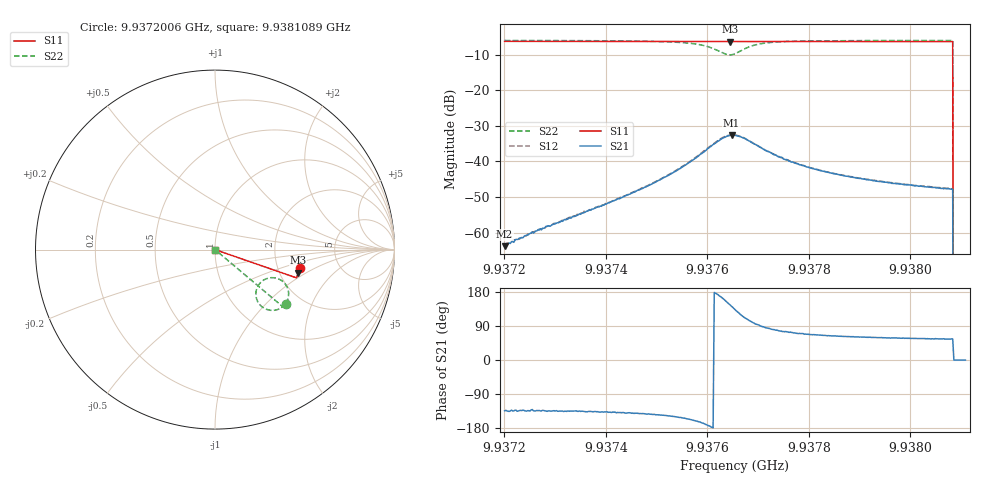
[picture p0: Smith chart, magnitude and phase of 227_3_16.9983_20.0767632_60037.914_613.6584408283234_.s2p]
#  HZ  S  RI  R  50.00
! Rohde & Schwarz Vector Network Analyzer
! Rohde-Schwarz,ZNB20-2Port,1311601062101988,3.16
! Created: UTC 3/20/2024, 11:02:13 PM
! freq[Hz]  re:S11  im:S11  re:S21  im:S21  re:S12  im:S12  re:S22  im:S22
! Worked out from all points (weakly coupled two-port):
!   401 points, 9.9372006 GHz to 9.9381089 GHz, reference 50 ohm
!   highest |S21| = -32.62 dB at 9.9376479 GHz (marker M1); lowest = -63.8 dB at 9.9372006 GHz (marker M2)
!   lowest |S11| = -6.4 dB at 9.9376456 GHz (marker M3), VSWR 2.84, Z = 126 - j42 ohm
!   |S11| at or under -10 dB: 9.9380839 GHz to end of sweep
!   |S22| runs from - to -6.1 dB; largest |S21 - S12| = 0.0011
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9.93720056e9  0.4734 -0.1003  -0.000451 -0.000464  -0.000479 -0.000474  0.3944 -0.3039
9.93726641e9  0.4721 -0.1047  -0.000759 -0.000793  -0.00078 -0.000773  0.389 -0.3093
9.9373527e9  0.4705 -0.1105  -0.00132 -0.00132  -0.00138 -0.00129  0.3796 -0.317
9.93743672e9  0.4686 -0.1162  -0.00245 -0.0021  -0.0025 -0.00212  0.3659 -0.3262
9.93750485e9  0.467 -0.1209  -0.00444 -0.00313  -0.00459 -0.00309  0.3453 -0.3351
9.9375548e9  0.4655 -0.1242  -0.00779 -0.00391  -0.00799 -0.00381  0.3154 -0.3387
9.93759568e9  0.4638 -0.127  -0.0138 -0.00267  -0.0141 -0.0024  0.267 -0.3226
9.93761385e9  0.463 -0.1279  -0.0176 0.000572  -0.018 0.000737  0.2395 -0.2926
9.93762974e9  0.4622 -0.1285  -0.0201 0.00597  -0.0205 0.00675  0.2277 -0.2443
9.93764564e9  0.4617 -0.1285  -0.019 0.0134  -0.0187 0.0144  0.2502 -0.1874
9.93764791e9  0.4618 -0.1286  -0.0183 0.0145  -0.018 0.0155  0.2565 -0.1809
9.93765472e9  0.4619 -0.1286  -0.0159 0.017  -0.0155 0.0177  0.2791 -0.1654
9.93766834e9  0.4623 -0.1292  -0.0099 0.0194  -0.00942 0.0198  0.3283 -0.1569
9.93768197e9  0.4625 -0.1298  -0.00495 0.0188  -0.00444 0.019  0.3662 -0.1695
9.93770695e9  0.4626 -0.1318  0.000361 0.0155  0.000669 0.0155  0.4 -0.2054
9.93774782e9  0.4621 -0.135  0.0029 0.0109  0.00294 0.0109  0.4104 -0.2474
9.93780687e9  0.4608 -0.1391  0.00314 0.0073  0.00328 0.00737  0.4059 -0.2775
9.93787272e9  0.4593 -0.1436  0.00292 0.00551  0.00304 0.00554  0.3987 -0.2947
9.93795901e9  0.4571 -0.1493  0.00264 0.00428  0.00274 0.00429  0.3906 -0.3082
9.93807936e9  0.4539 -0.1571  0.00234 0.00335  0.00243 0.00337  0.3809 -0.3206
9.93809072e9  0 0  0 0  0 0  0 0
9.93810888e9  0 0  0 0  0 0  0 0
